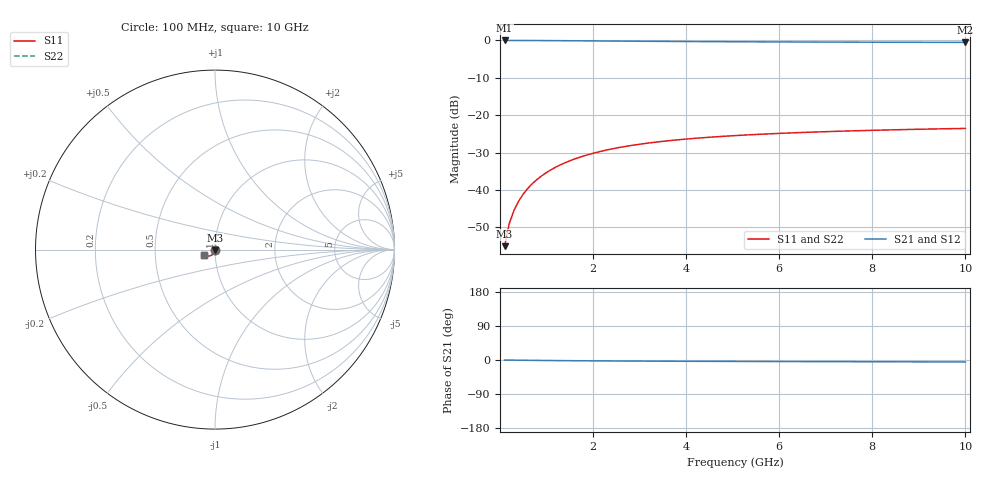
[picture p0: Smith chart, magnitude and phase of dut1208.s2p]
! Touchstone file exported from HFSS 2024.1.0
!  File:  C:/UserFiles/LocalFiles/RDL_TSV_Batchsim/temp_TSV1_1208_1780248211.aedt
!  Generated:  01:30:51 AM Jun  1, 2026
!  Design:  TSV1
!  Project:  temp_TSV1_1208_1780248211
!  Setup:  Setup1
!  Solution:  Sweep
! Variables:
!  dtsv = 14.17um
!  hbump = 3um
!  htsv = 76.5um
!  lrdl = 252.1521522um
!  p = 40
!  p1 = 43.34um
!  t = 500um
!  trdl = 3um
!  wrdl = 24.89489489um
# GHz S MA R 50.000000
! Terminal data exported
! Port[1] = TSV22_T1
! Port[2] = TSV22_T2
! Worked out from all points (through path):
!   100 points, 100 MHz to 10 GHz, reference 50 ohm
!   highest |S21| = 0.00 dB at 100 MHz (marker M1); lowest = -0.5 dB at 10 GHz (marker M2)
!   lowest |S11| = -55.1 dB at 100 MHz (marker M3), VSWR 1.00, Z = 50 - j0.176 ohm
!   |S11| at or under -10 dB: start of sweep to end of sweep
!   |S22| runs from -55.1 to -23.5 dB; largest |S21 - S12| = 5.7e-15
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0.1  0.001765 -88.8  0.9999 -0.1  0.9999 -0.1  0.001765 -88.8
! Gamma 0 0 0 0
! Port Impedance 50 0 50 0
0.2  0.003529 -91.8  0.9997 -0.3  0.9997 -0.3  0.003529 -91.8
0.3  0.00529 -93.8  0.9995 -0.4  0.9995 -0.4  0.00529 -93.8
0.4  0.007042 -95.6  0.9991 -0.5  0.9991 -0.5  0.007042 -95.6
0.5  0.008778 -97.2  0.9987 -0.7  0.9987 -0.7  0.008778 -97.2
0.6  0.01049 -98.7  0.9982 -0.8  0.9982 -0.8  0.01049 -98.7
0.7  0.01218 -100.2  0.9976 -0.9  0.9976 -0.9  0.01218 -100.2
0.8  0.01385 -101.7  0.997 -1.1  0.997 -1.1  0.01385 -101.7
0.9  0.01548 -103.1  0.9963 -1.2  0.9963 -1.2  0.01548 -103.1
1.1  0.01864 -105.9  0.9947 -1.4  0.9947 -1.4  0.01864 -105.9
1.4  0.02309 -109.8  0.9919 -1.7  0.9919 -1.7  0.02309 -109.8
1.6  0.02586 -112.3  0.99 -1.9  0.99 -1.9  0.02586 -112.3
1.8  0.02846 -114.7  0.988 -2.1  0.988 -2.1  0.02846 -114.7
2.1  0.03205 -118.0  0.9849 -2.3  0.9849 -2.3  0.03205 -118.0
2.5  0.0363 -121.9  0.9809 -2.6  0.9809 -2.6  0.0363 -121.9
2.9  0.03999 -125.4  0.9771 -2.9  0.9771 -2.9  0.03999 -125.4
3.4  0.04394 -129.2  0.9726 -3.1  0.9726 -3.1  0.04394 -129.2
4.2  0.04904 -134.1  0.9663 -3.4  0.9663 -3.4  0.04904 -134.1
5.1  0.0535 -138.5  0.9604 -3.8  0.9604 -3.8  0.0535 -138.5
6.7  0.05928 -144.2  0.9524 -4.3  0.9524 -4.3  0.05928 -144.2
8.4  0.06356 -148.6  0.9464 -4.7  0.9464 -4.7  0.06356 -148.6
10  0.06649 -151.6  0.9422 -5.2  0.9422 -5.2  0.06649 -151.6
